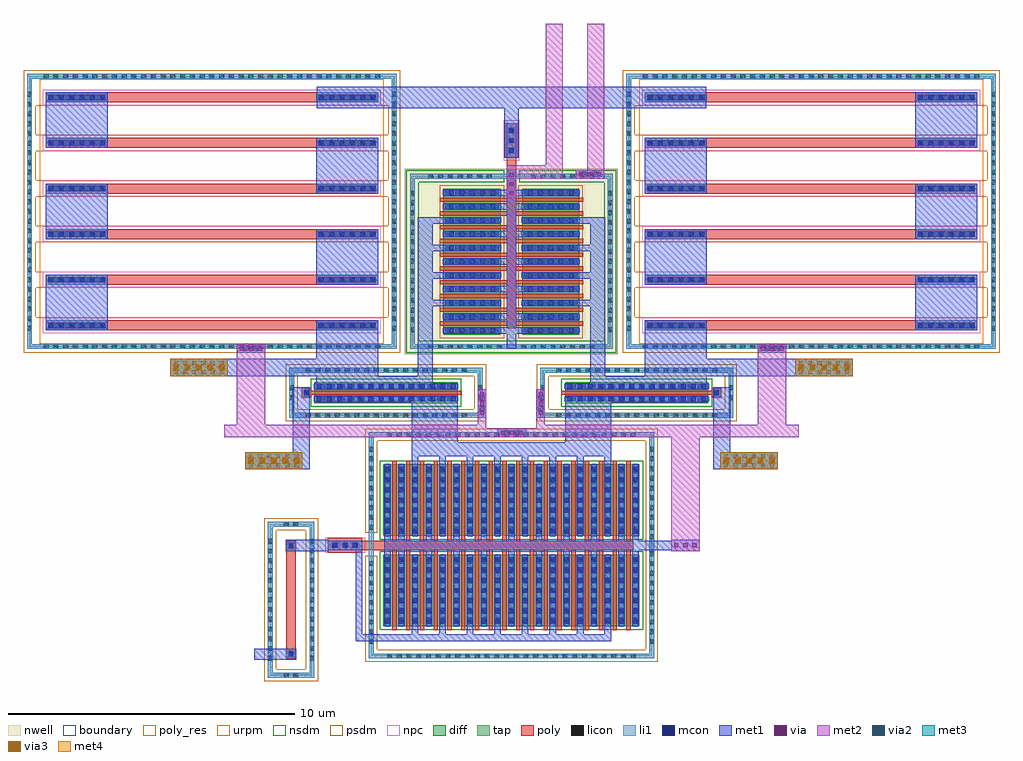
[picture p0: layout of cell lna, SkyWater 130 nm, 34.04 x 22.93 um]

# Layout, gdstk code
from math import pi, radians
import gdstk
lib = gdstk.Library(unit=1e-6, precision=1e-09)
def R(c, l, rs):  # rectangles x0, y0, x1, y1
    for r in rs: c.add(gdstk.rectangle(r[:2], r[2:], *l))
def A(c, l, x, y, w, h, nx, ny, dx, dy):  # array of equal rectangles
    R(c, l, [(x+i*dx, y+j*dy, x+i*dx+w, y+j*dy+h) for i in range(nx) for j in range(ny)])
nwell = (64, 20)
diff = (65, 20)
tap = (65, 44)
poly_res = (66, 13)
poly = (66, 20)
licon = (66, 44)
li1 = (67, 20)
mcon = (67, 44)
met1 = (68, 20)
via = (68, 44)
met2 = (69, 20)
via2 = (69, 44)
met3 = (70, 20)
via3 = (70, 44)
met4 = (71, 20)
urpm = (79, 20)
nsdm = (93, 44)
psdm = (94, 20)
npc = (95, 20)
boundary = (235, 4)

via_new_9 = lib.new_cell('via_new$9')
A(via_new_9, licon, 0.175, -0.085, 0.17, 0.17, 3, 1, 0.34, 0)
A(via_new_9, mcon, 0.155, -0.085, 0.17, 0.17, 3, 1, 0.36, 0)
via_new_9.add(gdstk.FlexPath([(0,0),(1.2,0)], 0.33, ends="flush", simple_path=True, layer=67, datatype=20))  # li1
via_new_9.add(gdstk.FlexPath([(0,0),(1.2,0)], 0.33, ends="flush", simple_path=True, layer=68, datatype=20))  # met1
via_new_9.add(gdstk.FlexPath([(0,0),(1.2,0)], 0.51, ends="flush", simple_path=True, layer=66, datatype=20))  # poly
via_new_9.add(gdstk.FlexPath([(-0.1,0),(1.3,0)], 0.53, ends="flush", simple_path=True, layer=95, datatype=20))  # npc

sky130_fd_pr__pfet_01v8_ = lib.new_cell('sky130_fd_pr__pfet_01v8_folded')
R(sky130_fd_pr__pfet_01v8_, nwell, [(0,0,4.19,6.47), (3.24,0,7.43,6.47)])
R(sky130_fd_pr__pfet_01v8_, diff, [(1.345,0.68,3.345,5.77), (4.085,0.68,6.085,5.77)])
R(sky130_fd_pr__pfet_01v8_, tap, [(0.18,0.18,0.35,6.29), (0.35,0.18,3.84,0.35), (3.59,0.18,7.08,0.35), (7.08,0.18,7.25,6.29), (0.35,6.12,3.46,6.29), (3.98,6.12,7.08,6.29)])
A(sky130_fd_pr__pfet_01v8_, poly, 1.215, 0.99, 2.285, 0.15, 1, 10, 0, 0.48)
A(sky130_fd_pr__pfet_01v8_, poly, 3.5, 0.99, 0.05, 0.15, 1, 10, 0, 0.48)
A(sky130_fd_pr__pfet_01v8_, poly, 3.88, 0.99, 0.05, 0.15, 1, 10, 0, 0.48)
A(sky130_fd_pr__pfet_01v8_, poly, 3.93, 0.99, 2.285, 0.15, 1, 10, 0, 0.48)
R(sky130_fd_pr__pfet_01v8_, poly, [(3.55,0.9,3.88,5.55)])
A(sky130_fd_pr__pfet_01v8_, licon, 0.82, 0.18, 0.17, 0.17, 8, 1, 0.34, 0)
A(sky130_fd_pr__pfet_01v8_, licon, 4.06, 0.18, 0.17, 0.17, 8, 1, 0.34, 0)
A(sky130_fd_pr__pfet_01v8_, licon, 1.41, 0.74, 0.17, 0.17, 6, 11, 0.34, 0.48)
A(sky130_fd_pr__pfet_01v8_, licon, 4.15, 0.74, 0.17, 0.17, 6, 11, 0.34, 0.48)
A(sky130_fd_pr__pfet_01v8_, licon, 0.18, 0.77, 0.17, 0.17, 1, 15, 0, 0.34)
A(sky130_fd_pr__pfet_01v8_, licon, 7.08, 0.77, 0.17, 0.17, 1, 15, 0, 0.34)
A(sky130_fd_pr__pfet_01v8_, licon, 0.82, 6.12, 0.17, 0.17, 7, 1, 0.34, 0)
A(sky130_fd_pr__pfet_01v8_, licon, 4.4, 6.12, 0.17, 0.17, 7, 1, 0.34, 0)
A(sky130_fd_pr__pfet_01v8_, li1, 1.325, 0.74, 2.04, 0.17, 1, 11, 0, 0.48)
A(sky130_fd_pr__pfet_01v8_, li1, 4.065, 0.74, 2.04, 0.17, 1, 11, 0, 0.48)
R(sky130_fd_pr__pfet_01v8_, li1, [(0.18,0.18,0.35,6.29), (0.35,0.18,3.84,0.35), (3.59,0.18,7.08,0.35), (7.08,0.18,7.25,6.29)])
A(sky130_fd_pr__pfet_01v8_, mcon, 1.54, 0.74, 0.17, 0.17, 5, 11, 0.36, 0.48)
A(sky130_fd_pr__pfet_01v8_, mcon, 4.28, 0.74, 0.17, 0.17, 5, 11, 0.36, 0.48)
A(sky130_fd_pr__pfet_01v8_, met1, 1.345, 0.71, 2, 0.23, 1, 11, 0, 0.48)
A(sky130_fd_pr__pfet_01v8_, met1, 4.085, 0.71, 2, 0.23, 1, 11, 0, 0.48)
A(sky130_fd_pr__pfet_01v8_, met1, 3.345, 1.19, 0.74, 0.23, 1, 5, 0, 0.96)
R(sky130_fd_pr__pfet_01v8_, met1, [(3.345,0.71,4.085,0.94), (3.345,5.51,4.085,5.74)])
R(sky130_fd_pr__pfet_01v8_, nsdm, [(0.055,0.055,0.475,6.415), (0.475,0.055,3.715,0.475), (3.715,0.055,6.955,0.475), (6.955,0.055,7.375,6.415)])
R(sky130_fd_pr__pfet_01v8_, psdm, [(1.22,0.555,3.47,5.895), (3.96,0.555,6.21,5.895)])
R(sky130_fd_pr__pfet_01v8_, boundary, [(0.265,0.265,3.925,6.205), (3.505,0.265,7.165,6.205)])
sky130_fd_pr__pfet_01v8_.add(gdstk.FlexPath([(1.345,4.665),(0.86,4.665),(0.86,3.705),(1.345,3.705),(1.345,3.705)], 0.23, ends="extended", simple_path=True, layer=68, datatype=20))  # met1
sky130_fd_pr__pfet_01v8_.add(gdstk.FlexPath([(0.86,3.705),(0.86,2.745),(1.345,2.745)], 0.23, ends="extended", simple_path=True, layer=68, datatype=20))  # met1
sky130_fd_pr__pfet_01v8_.add(gdstk.FlexPath([(0.86,2.745),(0.86,1.785),(1.345,1.785)], 0.23, ends="extended", simple_path=True, layer=68, datatype=20))  # met1
sky130_fd_pr__pfet_01v8_.add(gdstk.FlexPath([(6.085,1.785),(6.57,1.785),(6.57,2.745),(6.085,2.745),(6.085,2.745)], 0.23, ends="extended", simple_path=True, layer=68, datatype=20))  # met1
sky130_fd_pr__pfet_01v8_.add(gdstk.FlexPath([(6.57,2.745),(6.57,3.705),(6.085,3.705)], 0.23, ends="extended", simple_path=True, layer=68, datatype=20))  # met1
sky130_fd_pr__pfet_01v8_.add(gdstk.FlexPath([(6.57,3.705),(6.57,4.665),(6.085,4.665)], 0.23, ends="extended", simple_path=True, layer=68, datatype=20))  # met1

sky130_fd_pr__nfet_01v8 = lib.new_cell('sky130_fd_pr__nfet_01v8')
R(sky130_fd_pr__nfet_01v8, diff, [(0.995,0.635,5.995,1.365)])
R(sky130_fd_pr__nfet_01v8, tap, [(0.125,0.125,0.295,1.875), (0.295,0.125,6.695,0.295), (6.695,0.125,6.865,1.875), (0.295,1.705,6.695,1.875)])
R(sky130_fd_pr__nfet_01v8, poly, [(0.555,0.835,0.885,1.165), (0.885,0.925,6.105,1.075)])
A(sky130_fd_pr__nfet_01v8, licon, 0.69, 0.125, 0.17, 0.17, 17, 2, 0.34, 1.58)
A(sky130_fd_pr__nfet_01v8, licon, 1.2, 0.695, 0.17, 0.17, 14, 2, 0.34, 0.44)
R(sky130_fd_pr__nfet_01v8, licon, [(0.125,0.745,0.295,0.915), (6.695,0.745,6.865,0.915), (0.635,0.915,0.805,1.085), (0.125,1.085,0.295,1.255), (6.695,1.085,6.865,1.255)])
R(sky130_fd_pr__nfet_01v8, li1, [(0.125,0.125,0.295,1.875), (0.295,0.125,6.695,0.295), (6.695,0.125,6.865,1.875), (0.975,0.695,6.015,0.865), (0.635,0.835,0.805,1.165), (0.975,1.135,6.015,1.305), (0.295,1.705,6.695,1.875)])
A(sky130_fd_pr__nfet_01v8, mcon, 1.07, 0.695, 0.17, 0.17, 14, 2, 0.36, 0.44)
R(sky130_fd_pr__nfet_01v8, mcon, [(0.635,0.915,0.805,1.085)])
R(sky130_fd_pr__nfet_01v8, met1, [(0.995,0.665,5.995,0.895), (0.605,0.815,0.835,0.855), (0.605,0.855,0.835,1.145), (0.995,1.105,5.995,1.335), (0.605,1.145,0.835,1.185)])
R(sky130_fd_pr__nfet_01v8, nsdm, [(0.87,0.51,6.12,1.49)])
R(sky130_fd_pr__nfet_01v8, psdm, [(0,0,0.42,2), (0.42,0,6.57,0.42), (6.57,0,6.99,2), (0.42,1.58,6.57,2)])
R(sky130_fd_pr__nfet_01v8, npc, [(0.535,0.815,0.905,1.185)])
R(sky130_fd_pr__nfet_01v8, boundary, [(0.21,0.21,6.78,1.79)])

sky130_fd_pr__nfet_01v8_ = lib.new_cell('sky130_fd_pr__nfet_01v8_folded')
R(sky130_fd_pr__nfet_01v8_, diff, [(0.635,1.245,9.565,3.745), (0.635,4.395,9.565,6.895)])
R(sky130_fd_pr__nfet_01v8_, tap, [(0.125,0.125,10.075,0.295), (0.125,0.295,0.295,3.7), (9.905,0.295,10.075,4.195), (9.905,3.945,10.075,7.845), (0.125,4.5,0.295,7.845), (0.125,7.845,10.075,8.015)])
A(sky130_fd_pr__nfet_01v8_, poly, 0.945, 1.115, 0.15, 2.74, 18, 2, 0.48, 3.17)
A(sky130_fd_pr__nfet_01v8_, poly, 0.945, 3.855, 0.15, 0.05, 18, 2, 0.48, 0.38)
R(sky130_fd_pr__nfet_01v8_, poly, [(0.855,3.905,9.345,4.235)])
A(sky130_fd_pr__nfet_01v8_, licon, 0.765, 0.125, 0.17, 0.17, 26, 2, 0.34, 7.72)
A(sky130_fd_pr__nfet_01v8_, licon, 0.125, 0.63, 0.17, 0.17, 1, 9, 0, 0.34)
A(sky130_fd_pr__nfet_01v8_, licon, 9.905, 0.63, 0.17, 0.17, 1, 10, 0, 0.34)
A(sky130_fd_pr__nfet_01v8_, licon, 0.695, 1.39, 0.17, 0.17, 19, 7, 0.48, 0.34)
A(sky130_fd_pr__nfet_01v8_, licon, 9.905, 4.28, 0.17, 0.17, 1, 10, 0, 0.34)
A(sky130_fd_pr__nfet_01v8_, licon, 0.695, 4.54, 0.17, 0.17, 19, 7, 0.48, 0.34)
A(sky130_fd_pr__nfet_01v8_, licon, 0.125, 4.62, 0.17, 0.17, 1, 9, 0, 0.34)
A(sky130_fd_pr__nfet_01v8_, li1, 0.695, 1.225, 0.17, 2.54, 19, 2, 0.48, 3.15)
R(sky130_fd_pr__nfet_01v8_, li1, [(0.125,0.125,10.075,0.295), (9.905,0.295,10.075,4.195), (9.905,3.945,10.075,7.845), (0.125,7.845,10.075,8.015)])
A(sky130_fd_pr__nfet_01v8_, mcon, 0.695, 1.33, 0.17, 0.17, 19, 7, 0.48, 0.36)
A(sky130_fd_pr__nfet_01v8_, mcon, 0.695, 4.48, 0.17, 0.17, 19, 7, 0.48, 0.36)
A(sky130_fd_pr__nfet_01v8_, met1, 0.665, 1.245, 0.23, 2.5, 19, 2, 0.48, 3.15)
A(sky130_fd_pr__nfet_01v8_, met1, 1.145, 3.745, 0.23, 0.65, 9, 1, 0.96, 0)
R(sky130_fd_pr__nfet_01v8_, met1, [(0.665,3.745,0.895,4.395), (9.305,3.745,9.535,4.395)])
R(sky130_fd_pr__nfet_01v8_, nsdm, [(0.51,1.12,9.69,3.87), (0.51,4.27,9.69,7.02)])
R(sky130_fd_pr__nfet_01v8_, psdm, [(0,0,10.2,0.42), (9.78,0.42,10.2,4.07), (9.78,4.07,10.2,7.72), (0,7.72,10.2,8.14)])
R(sky130_fd_pr__nfet_01v8_, boundary, [(0.21,0.21,9.99,4.28), (0.21,3.86,9.99,7.93)])
sky130_fd_pr__nfet_01v8_.add(gdstk.FlexPath([(1.74,1.245),(1.74,0.845),(2.7,0.845),(2.7,1.245)], 0.23, ends="extended", simple_path=True, layer=68, datatype=20))  # met1
sky130_fd_pr__nfet_01v8_.add(gdstk.FlexPath([(2.7,1.245),(2.7,0.845),(3.66,0.845),(3.66,1.245)], 0.23, ends="extended", simple_path=True, layer=68, datatype=20))  # met1
sky130_fd_pr__nfet_01v8_.add(gdstk.FlexPath([(3.66,1.245),(3.66,0.845),(4.62,0.845),(4.62,1.245)], 0.23, ends="extended", simple_path=True, layer=68, datatype=20))  # met1
sky130_fd_pr__nfet_01v8_.add(gdstk.FlexPath([(4.62,1.245),(4.62,0.845),(5.58,0.845),(5.58,1.245)], 0.23, ends="extended", simple_path=True, layer=68, datatype=20))  # met1
sky130_fd_pr__nfet_01v8_.add(gdstk.FlexPath([(5.58,1.245),(5.58,0.845),(6.54,0.845),(6.54,1.245)], 0.23, ends="extended", simple_path=True, layer=68, datatype=20))  # met1
sky130_fd_pr__nfet_01v8_.add(gdstk.FlexPath([(6.54,1.245),(6.54,0.845),(7.5,0.845),(7.5,1.245)], 0.23, ends="extended", simple_path=True, layer=68, datatype=20))  # met1
sky130_fd_pr__nfet_01v8_.add(gdstk.FlexPath([(7.5,1.245),(7.5,0.845),(8.46,0.845),(8.46,1.245)], 0.23, ends="extended", simple_path=True, layer=68, datatype=20))  # met1
sky130_fd_pr__nfet_01v8_.add(gdstk.FlexPath([(8.46,6.895),(8.46,7.295),(7.5,7.295),(7.5,6.895)], 0.23, ends="extended", simple_path=True, layer=68, datatype=20))  # met1
sky130_fd_pr__nfet_01v8_.add(gdstk.FlexPath([(7.5,6.895),(7.5,7.295),(6.54,7.295),(6.54,6.895)], 0.23, ends="extended", simple_path=True, layer=68, datatype=20))  # met1
sky130_fd_pr__nfet_01v8_.add(gdstk.FlexPath([(6.54,6.895),(6.54,7.295),(5.58,7.295),(5.58,6.895)], 0.23, ends="extended", simple_path=True, layer=68, datatype=20))  # met1
sky130_fd_pr__nfet_01v8_.add(gdstk.FlexPath([(5.58,6.895),(5.58,7.295),(4.62,7.295),(4.62,6.895)], 0.23, ends="extended", simple_path=True, layer=68, datatype=20))  # met1
sky130_fd_pr__nfet_01v8_.add(gdstk.FlexPath([(4.62,6.895),(4.62,7.295),(3.66,7.295),(3.66,6.895)], 0.23, ends="extended", simple_path=True, layer=68, datatype=20))  # met1
sky130_fd_pr__nfet_01v8_.add(gdstk.FlexPath([(3.66,6.895),(3.66,7.295),(2.7,7.295),(2.7,6.895)], 0.23, ends="extended", simple_path=True, layer=68, datatype=20))  # met1
sky130_fd_pr__nfet_01v8_.add(gdstk.FlexPath([(2.7,6.895),(2.7,7.295),(1.74,7.295),(1.74,6.895)], 0.23, ends="extended", simple_path=True, layer=68, datatype=20))  # met1

sky130_fd_pr__res_generi = lib.new_cell('sky130_fd_pr__res_generic_po')
R(sky130_fd_pr__res_generi, tap, [(0.125,0.125,1.755,0.295), (0.125,0.295,0.295,5.385), (1.585,0.295,1.755,5.385), (0.125,5.385,1.755,5.555)])
R(sky130_fd_pr__res_generi, poly_res, [(0.775,1.14,1.105,4.54)])
R(sky130_fd_pr__res_generi, poly, [(0.775,0.775,1.105,4.905)])
A(sky130_fd_pr__res_generi, licon, 0.125, 0.715, 0.17, 0.17, 1, 13, 0, 0.34)
A(sky130_fd_pr__res_generi, licon, 1.585, 0.715, 0.17, 0.17, 1, 13, 0, 0.34)
R(sky130_fd_pr__res_generi, licon, [(0.685,0.125,0.855,0.295), (1.025,0.125,1.195,0.295), (0.855,0.855,1.025,1.025), (0.855,4.655,1.025,4.825), (0.685,5.385,0.855,5.555), (1.025,5.385,1.195,5.555)])
R(sky130_fd_pr__res_generi, li1, [(0.125,0.125,1.755,0.295), (0.125,0.295,0.295,5.385), (1.585,0.295,1.755,5.385), (0.775,0.855,1.105,1.025), (0.855,1.025,1.025,1.055), (0.855,4.625,1.025,4.655), (0.775,4.655,1.105,4.825), (0.125,5.385,1.755,5.555)])
R(sky130_fd_pr__res_generi, mcon, [(0.855,0.87,1.025,1.04), (0.855,4.64,1.025,4.81)])
R(sky130_fd_pr__res_generi, met1, [(0.755,0.755,0.825,1.14), (0.825,0.755,1.055,0.795), (1.055,0.755,1.125,1.14), (0.825,0.795,1.055,1.115), (0.825,1.115,1.055,1.14), (0.825,4.565,1.055,4.885)])
R(sky130_fd_pr__res_generi, psdm, [(0,0,1.88,0.42), (0,0.42,0.42,5.26), (1.46,0.42,1.88,5.26), (0,5.26,1.88,5.68)])
R(sky130_fd_pr__res_generi, npc, [(0.755,0.755,1.125,1.125), (0.755,4.555,1.125,4.925)])
R(sky130_fd_pr__res_generi, boundary, [(0.21,0.21,1.67,5.47)])

sky130_fd_pr__res_high_p = lib.new_cell('sky130_fd_pr__res_high_po_0p35')
R(sky130_fd_pr__res_high_p, tap, [(0.125,0.125,0.295,9.725), (0.295,0.125,12.845,0.295), (12.845,0.125,13.015,9.725), (0.295,9.555,12.845,9.725)])
A(sky130_fd_pr__res_high_p, poly_res, 2.875, 0.775, 7.39, 0.35, 1, 6, 0, 1.59)
A(sky130_fd_pr__res_high_p, poly, 0.775, 0.775, 11.59, 0.35, 1, 6, 0, 1.59)
A(sky130_fd_pr__res_high_p, licon, 0.705, 0.125, 0.17, 0.17, 35, 2, 0.34, 9.43)
A(sky130_fd_pr__res_high_p, licon, 0.125, 0.76, 0.17, 0.17, 1, 25, 0, 0.34)
A(sky130_fd_pr__res_high_p, licon, 12.845, 0.76, 0.17, 0.17, 1, 25, 0, 0.34)
A(sky130_fd_pr__res_high_p, licon, 0.855, 0.855, 2, 0.19, 1, 6, 0, 1.59)
A(sky130_fd_pr__res_high_p, licon, 10.285, 0.855, 2, 0.19, 1, 6, 0, 1.59)
A(sky130_fd_pr__res_high_p, li1, 0.775, 0.775, 2.16, 0.35, 1, 6, 0, 1.59)
A(sky130_fd_pr__res_high_p, li1, 10.205, 0.775, 2.16, 0.35, 1, 6, 0, 1.59)
R(sky130_fd_pr__res_high_p, li1, [(0.125,0.125,0.295,9.725), (0.295,0.125,12.845,0.295), (12.845,0.125,13.015,9.725), (0.295,9.555,12.845,9.725)])
A(sky130_fd_pr__res_high_p, mcon, 0.875, 0.865, 0.17, 0.17, 6, 6, 0.36, 1.59)
A(sky130_fd_pr__res_high_p, mcon, 10.3, 0.865, 0.17, 0.17, 6, 6, 0.36, 1.59)
A(sky130_fd_pr__res_high_p, met1, 0.775, 0.775, 2.16, 1.94, 1, 3, 0, 3.18)
A(sky130_fd_pr__res_high_p, met1, 0.805, 0.825, 2.105, 0.25, 1, 6, 0, 1.59)
A(sky130_fd_pr__res_high_p, met1, 10.23, 0.825, 2.105, 0.25, 1, 6, 0, 1.59)
R(sky130_fd_pr__res_high_p, met1, [(10.205,2.365,12.365,4.305), (10.205,5.545,12.365,7.485)])
R(sky130_fd_pr__res_high_p, urpm, [(0.575,0.315,12.565,9.535)])
A(sky130_fd_pr__res_high_p, psdm, 0.42, 2.255, 12.3, 0.57, 1, 4, 0, 1.59)
R(sky130_fd_pr__res_high_p, psdm, [(0,0,0.42,9.85), (0.42,0,12.72,1.235), (12.72,0,13.14,9.85), (0.42,8.615,12.72,9.85)])
A(sky130_fd_pr__res_high_p, npc, 0.68, 0.68, 11.78, 0.54, 1, 6, 0, 1.59)
R(sky130_fd_pr__res_high_p, boundary, [(0.21,0.21,12.93,9.64)])
sky130_fd_pr__res_high_p.add(gdstk.FlexPath([(12.27,8.9),(10.605,8.9)], 0.75, ends="extended", simple_path=True, layer=68, datatype=20))  # met1

via_new_2 = lib.new_cell('via_new$2')
R(via_new_2, mcon, [(0.235,-0.085,0.405,0.085), (0.595,-0.085,0.765,0.085)])
A(via_new_2, via, 0.105, -0.075, 0.15, 0.15, 3, 1, 0.32, 0)
via_new_2.add(gdstk.FlexPath([(0,0),(1,0)], 0.3, ends="flush", simple_path=True, layer=69, datatype=20))  # met2
via_new_2.add(gdstk.FlexPath([(0,0),(1,0)], 0.3, ends="flush", simple_path=True, layer=67, datatype=20))  # li1
via_new_2.add(gdstk.FlexPath([(0,0),(1,0)], 0.3, ends="flush", simple_path=True, layer=68, datatype=20))  # met1

via_new_4_1 = lib.new_cell('via_new$4$1')
A(via_new_4_1, via, 0.105, -0.075, 0.15, 0.15, 3, 1, 0.32, 0)
via_new_4_1.add(gdstk.FlexPath([(0,0),(1,0)], 0.33, ends="flush", simple_path=True, layer=69, datatype=20))  # met2
via_new_4_1.add(gdstk.FlexPath([(0,0),(1,0)], 0.33, ends="flush", simple_path=True, layer=68, datatype=20))  # met1

via_new_7_1 = lib.new_cell('via_new$7$1')
A(via_new_7_1, via, 0.125, -0.235, 0.15, 0.15, 6, 2, 0.32, 0.32)
A(via_new_7_1, via2, 0.1, -0.1, 0.2, 0.2, 5, 1, 0.4, 0)
A(via_new_7_1, via3, 0.1, -0.1, 0.2, 0.2, 5, 1, 0.4, 0)
via_new_7_1.add(gdstk.FlexPath([(0,0),(2,0)], 0.6, ends="flush", simple_path=True, layer=69, datatype=20))  # met2
via_new_7_1.add(gdstk.FlexPath([(0,0),(2,0)], 0.6, ends="flush", simple_path=True, layer=70, datatype=20))  # met3
via_new_7_1.add(gdstk.FlexPath([(0,0),(2,0)], 0.6, ends="flush", simple_path=True, layer=71, datatype=20))  # met4
via_new_7_1.add(gdstk.FlexPath([(0,0),(2,0)], 0.6, ends="flush", simple_path=True, layer=68, datatype=20))  # met1

via_new_8 = lib.new_cell('via_new$8')
A(via_new_8, via, 0.125, -0.395, 0.15, 0.15, 1, 3, 0, 0.32)
via_new_8.add(gdstk.FlexPath([(0,0),(0.4,0)], 1, ends="flush", simple_path=True, layer=69, datatype=20))  # met2
via_new_8.add(gdstk.FlexPath([(0,0),(0.4,0)], 1, ends="flush", simple_path=True, layer=68, datatype=20))  # met1

lna = lib.new_cell('lna')
R(lna, poly, [(-11.685,-0.11,-10.245,0.22), (-7.76,5.3,-7.745,5.45), (-7.745,5.3,-7.74,5.45), (-4.26,5.3,-4.24,5.45), (-6.165,12.27,-5.835,13.57)])
R(lna, li1, [(-10.975,-3.72,-10.805,3.83), (-9.365,12.84,-2.635,13.01)])
R(lna, met1, [(-14.97,-3.93,-14.69,-3.545), (-14.69,-3.93,-13.5,-3.545), (-13.87,-0.145,-12.68,0.24), (-12.68,-0.145,-12.4,0.24), (-10.435,-0.11,-0.435,0.22), (-15.29,2.7,-13.03,3.3), (1.03,2.7,3.29,3.3), (-9.475,3.165,-7.87,5.27), (-4.13,3.165,-2.525,5.27), (-13.63,3.3,-13.03,5.56), (1.03,3.3,1.63,5.56), (-7.87,3.395,-4.13,3.65), (-12.81,5.48,-10.65,7.9), (-9.27,5.48,-8.97,11.5), (-3.03,5.48,-2.73,11.5), (-1.35,5.48,0.81,7.9), (-10.65,5.71,-9.27,5.955), (-2.73,5.71,-1.35,5.955), (-17.9,5.955,-15.64,6.555), (-15.64,5.955,-15.07,6.555), (-15.07,5.955,-12.81,6.555), (0.81,5.955,3.07,6.555), (3.07,5.955,3.64,6.555), (3.64,5.955,5.9,6.555), (-6.165,6.9,-5.835,13.15), (-6.255,13.57,-5.745,15.3), (-10.37,15.3,-1.625,16.05)])
R(lna, met2, [(-0.435,0.255,0.565,3.83), (-16.02,3.83,-6.87,4.25), (-7.17,3.83,-6.87,4.5), (-7.17,3.83,-6.485,4.13), (-5.485,3.83,-4.83,4.13), (-5.13,3.83,-4.83,4.5), (-5.13,3.83,4.02,4.25), (-15.585,4.25,-14.585,6.77), (2.59,4.25,3.59,6.77), (-6.165,12.84,-4.205,13.3), (-4.805,12.84,-4.205,18.24), (-3.36,12.84,-2.76,18.24)])
R(lna, nsdm, [(-9.24,12.715,-6.255,13.135), (-5.735,12.715,-2.76,13.135)])
R(lna, psdm, [(-11.1,-3.595,-10.68,-0.315), (-11.1,0.485,-10.68,3.705)])
lna.add(gdstk.FlexPath([(-8.855,8.505),(-8.855,5.595)], 0.23, ends="extended", simple_path=True, layer=68, datatype=20))  # met1
lna.add(gdstk.FlexPath([(-3.145,8.505),(-3.145,5.595)], 0.23, ends="extended", simple_path=True, layer=68, datatype=20))  # met1
lna.add(gdstk.FlexPath([(-11.315,0.055),(-11.315,-3.17),(-9.36,-3.17)], 0.23, ends="extended", simple_path=True, layer=68, datatype=20))  # met1
lna.add(gdstk.Reference(via_new_9, (-6,13.57), rotation=pi/2))
lna.add(gdstk.Reference(via_new_9, (-11.2,0.055), rotation=pi))
lna.add(gdstk.Reference(sky130_fd_pr__pfet_01v8_, (-9.715,6.72)))
lna.add(gdstk.Reference(sky130_fd_pr__nfet_01v8, (-13.865,4.375)))
lna.add(gdstk.Reference(sky130_fd_pr__nfet_01v8_, (-11.1,-4.015)))
lna.add(gdstk.Reference(sky130_fd_pr__res_generi, (-14.625,-4.685)))
lna.add(gdstk.Reference(sky130_fd_pr__nfet_01v8, (1.865,6.375), rotation=pi))
lna.add(gdstk.Reference(sky130_fd_pr__res_high_p, (-23.015,6.775)))
lna.add(gdstk.Reference(sky130_fd_pr__res_high_p, (11.02,6.775), rotation=pi, x_reflection=True))
lna.add(gdstk.Reference(via_new_2, (-5.485,3.98), rotation=pi))
lna.add(gdstk.Reference(via_new_2, (-7.02,4.5), rotation=pi/2))
lna.add(gdstk.Reference(via_new_2, (-4.98,4.5), rotation=pi/2))
lna.add(gdstk.Reference(via_new_2, (-2.76,12.99), rotation=pi))
lna.add(gdstk.Reference(via_new_2, (-14.585,6.92), rotation=pi))
lna.add(gdstk.Reference(via_new_2, (3.59,6.92), rotation=pi))
lna.add(gdstk.Reference(via_new_4_1, (-6,13.15), rotation=3*pi/2))
lna.add(gdstk.Reference(via_new_7_1, (-13.29,3), rotation=pi))
lna.add(gdstk.Reference(via_new_7_1, (-15.9,6.255), rotation=pi))
lna.add(gdstk.Reference(via_new_7_1, (1.29,3), x_reflection=True))
lna.add(gdstk.Reference(via_new_7_1, (3.9,6.255), x_reflection=True))
lna.add(gdstk.Reference(via_new_8, (0.065,-0.145), rotation=pi/2))

lib.write_gds('lna.gds')
